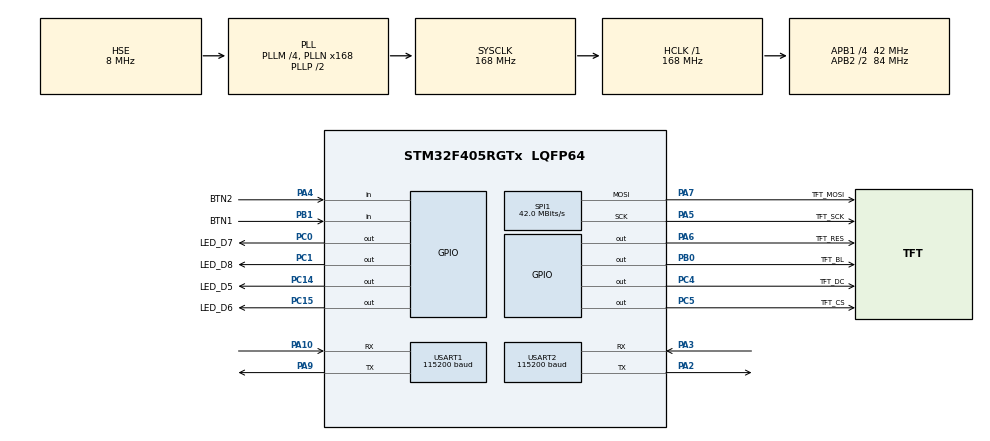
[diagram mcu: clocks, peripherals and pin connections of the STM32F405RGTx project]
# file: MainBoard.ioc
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Dma.Request0=SPI1_TX
Dma.SPI1_TX.0.Direction=DMA_MEMORY_TO_PERIPH
Dma.SPI1_TX.0.FIFOMode=DMA_FIFOMODE_ENABLE
Dma.SPI1_TX.0.FIFOThreshold=DMA_FIFO_THRESHOLD_FULL
Dma.SPI1_TX.0.Instance=DMA2_Stream3
Dma.SPI1_TX.0.MemBurst=DMA_MBURST_INC16
Dma.SPI1_TX.0.MemDataAlignment=DMA_MDATAALIGN_BYTE
Dma.SPI1_TX.0.MemInc=DMA_MINC_ENABLE
Dma.SPI1_TX.0.Mode=DMA_NORMAL
Dma.SPI1_TX.0.PeriphBurst=DMA_PBURST_SINGLE
Dma.SPI1_TX.0.PeriphDataAlignment=DMA_PDATAALIGN_BYTE
Dma.SPI1_TX.0.PeriphInc=DMA_PINC_DISABLE
Dma.SPI1_TX.0.Priority=DMA_PRIORITY_LOW
Mcu.Family=STM32F4
Mcu.Name=STM32F405RGTx
Mcu.Package=LQFP64
NVIC.DMA2_Stream3_IRQn=true\:0\:0\:false\:false\:true\:false\:true\:true
NVIC.PriorityGroup=NVIC_PRIORITYGROUP_4
NVIC.SPI1_IRQn=true\:0\:0\:false\:false\:true\:true\:true\:true
NVIC.USART1_IRQn=true\:0\:0\:false\:false\:true\:true\:true\:true
NVIC.USART2_IRQn=true\:0\:0\:false\:false\:true\:true\:true\:true
PA10.Mode=Asynchronous
PA10.Signal=USART1_RX
PA13.Mode=Serial_Wire
PA13.Signal=SYS_JTMS-SWDIO
PA14.Mode=Serial_Wire
PA14.Signal=SYS_JTCK-SWCLK
PA2.Mode=Asynchronous
PA2.Signal=USART2_TX
PA3.Mode=Asynchronous
PA3.Signal=USART2_RX
PA4.GPIO_Label=BTN2
PA4.GPIO_PuPd=GPIO_PULLUP
PA4.Signal=GPIO_Input
PA5.GPIO_Label=TFT_SCK
PA5.Mode=TX_Only_Simplex_Unidirect_Master
PA5.Signal=SPI1_SCK
PA6.GPIO_Label=TFT_RES
PA6.Signal=GPIO_Output
PA7.GPIO_Label=TFT_MOSI
PA7.Mode=TX_Only_Simplex_Unidirect_Master
PA7.Signal=SPI1_MOSI
PA9.Mode=Asynchronous
PA9.Signal=USART1_TX
PB0.GPIO_Label=TFT_BL
PB0.Signal=GPIO_Output
PB1.GPIO_Label=BTN1
PB1.GPIO_PuPd=GPIO_PULLUP
PB1.Signal=GPIO_Input
PC0.GPIO_Label=LED_D7
PC0.Signal=GPIO_Output
PC1.GPIO_Label=LED_D8
PC1.Signal=GPIO_Output
PC14-OSC32_IN.GPIO_Label=LED_D5
PC14-OSC32_IN.Signal=GPIO_Output
PC15-OSC32_OUT.GPIO_Label=LED_D6
PC15-OSC32_OUT.Signal=GPIO_Output
PC4.GPIO_Label=TFT_DC
PC4.Signal=GPIO_Output
PC5.GPIO_Label=TFT_CS
PC5.Signal=GPIO_Output
PH0-OSC_IN.Mode=HSE-External-Oscillator
PH0-OSC_IN.Signal=RCC_OSC_IN
PH1-OSC_OUT.Mode=HSE-External-Oscillator
PH1-OSC_OUT.Signal=RCC_OSC_OUT
ProjectManager.HeapSize=0x200
ProjectManager.StackSize=0x400
ProjectManager.TargetToolchain=CMake
RCC.48MHZClocksFreq_Value=84000000
RCC.AHBFreq_Value=168000000
RCC.APB1CLKDivider=RCC_HCLK_DIV4
RCC.APB1Freq_Value=42000000
RCC.APB1TimFreq_Value=84000000
RCC.APB2CLKDivider=RCC_HCLK_DIV2
RCC.APB2Freq_Value=84000000
RCC.APB2TimFreq_Value=168000000
RCC.CortexFreq_Value=168000000
RCC.HCLKFreq_Value=168000000
RCC.HSE_VALUE=8000000
RCC.HSI_VALUE=16000000
RCC.LSE_VALUE=32768
RCC.PLLM=4
RCC.PLLN=168
RCC.PLLSourceVirtual=RCC_PLLSOURCE_HSE
RCC.SYSCLKFreq_VALUE=168000000
RCC.SYSCLKSource=RCC_SYSCLKSOURCE_PLLCLK
RCC.VCOOutputFreq_Value=336000000
SPI1.BaudRatePrescaler=SPI_BAUDRATEPRESCALER_2
SPI1.CalculateBaudRate=42.0 MBits/s
SPI1.Direction=SPI_DIRECTION_2LINES
SPI1.Mode=SPI_MODE_MASTER
SPI1.VirtualType=VM_MASTER
USART1.BaudRate=115200
USART1.VirtualMode=VM_ASYNC
USART2.BaudRate=115200
USART2.VirtualMode=VM_ASYNC
board=custom

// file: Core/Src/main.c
/* USER CODE BEGIN Header */
/**
  ******************************************************************************
  * @file           : main.c
  * @brief          : MainBoard communication progress display.
  ******************************************************************************
  * Application code is kept inside CubeMX USER CODE sections.
  ******************************************************************************
  */
/* USER CODE END Header */
#include "main.h"
#include "dma.h"
#include "spi.h"
#include "usart.h"
#include "gpio.h"

/* USER CODE BEGIN Includes */
#include "lcd/lcd.h"
#include "lcd/lcd_graphics.h"
#include "rdc_protocol.h"
#include <stdio.h>
#include <string.h>
/* USER CODE END Includes */

/* USER CODE BEGIN PTD */
typedef enum {
  CMD_NONE = 0,
  CMD_MOVE,
  CMD_ROTATE,
  CMD_MECHANISM_OPEN,
  CMD_MECHANISM_CLOSE,
  CMD_MECHANISM_STOP
} cmd_t;
/* USER CODE END PTD */

/* USER CODE BEGIN PD */
#define RDC_LINK_TIMEOUT_MS 350U
#define RDC_DISPLAY_PERIOD_MS 100U
#define RDC_MOTION_AVG_SAMPLES 3U
#define BT_LINE_MAX 16U
#define BT_QUEUE_LEN 8U
/* USER CODE END PD */

/* USER CODE BEGIN PV */
/* Motion setpoints are moving-averaged over the latest received commands.
 * Trigger events remain discrete and are never averaged. */
static int16_t move_x_centi, move_y_centi, rotation_z_centi;
static RdcMessageType mechanism_command = RDC_MESSAGE_MECHANISM_STOP;
static int16_t move_history[RDC_MOTION_AVG_SAMPLES][2];
static int16_t rotation_history[RDC_MOTION_AVG_SAMPLES];
static uint8_t move_history_count, move_history_next;
static uint8_t rotation_history_count, rotation_history_next;
static uint8_t link_timed_out;
static uint8_t have_valid_command;
static uint16_t ack_sequence;
static uint32_t last_valid_command_tick, next_display_tick;
static uint32_t command_ok, command_bad, ack_errors;

/* USART1 byte-to-line receiver. RX is handled in the ISR; command parsing is foreground-only. */
static uint8_t bt_rx_byte, bt_rx_length, bt_rx_discard;
static char bt_rx_line[BT_LINE_MAX];
static char bt_line_queue[BT_QUEUE_LEN][BT_LINE_MAX];
static volatile uint8_t bt_queue_head, bt_queue_tail;
static volatile uint32_t bt_uart_errors, bt_overflows, bt_dropped;

static cmd_t last_command = CMD_NONE;
/* USER CODE END PV */

void SystemClock_Config(void);
/* USER CODE BEGIN PFP */
static void mainboard_app_init(void);
static void mainboard_app_step(void);
static void bt_rx_start(void);
static bool bt_rx_get_line(char *out);
static cmd_t bt_parse(const char *line, RdcMessage *message);
static const char *cmd_name(cmd_t command);
static void send_ack(void);
static void draw_progress_screen(uint32_t now);
static void ratio_text(char *out, size_t capacity, int16_t ratio);
/* USER CODE END PFP */

/* USER CODE BEGIN 0 */
static void bt_rx_start(void)
{
  (void)HAL_UART_Receive_IT(&huart1, &bt_rx_byte, 1U);
}

static bool bt_rx_get_line(char *out)
{
  if (bt_queue_head == bt_queue_tail) return false;
  memcpy(out, bt_line_queue[bt_queue_tail], BT_LINE_MAX);
  bt_queue_tail = (uint8_t)((bt_queue_tail + 1U) % BT_QUEUE_LEN);
  return true;
}

void HAL_UART_RxCpltCallback(UART_HandleTypeDef *huart)
{
  if (huart != &huart1) return;

  const char byte = (char)bt_rx_byte;
  if (byte == '\n') {
    if (!bt_rx_discard && bt_rx_length > 0U) {
      const uint8_t next = (uint8_t)((bt_queue_head + 1U) % BT_QUEUE_LEN);
      bt_rx_line[bt_rx_length] = '\0';
      if (next != bt_queue_tail) {
        memcpy(bt_line_queue[bt_queue_head], bt_rx_line, BT_LINE_MAX);
        bt_queue_head = next;
      } else {
        ++bt_dropped;
      }
    }
    bt_rx_length = 0U;
    bt_rx_discard = 0U;
  } else if (byte == '\r') {
    /* The wire protocol is LF-only; discard CRLF lines through their LF. */
    bt_rx_length = 0U;
    bt_rx_discard = 1U;
  } else if (!bt_rx_discard) {
    if (bt_rx_length < BT_LINE_MAX - 1U) {
      bt_rx_line[bt_rx_length++] = byte;
    } else {
      bt_rx_length = 0U;
      bt_rx_discard = 1U;
      ++bt_overflows;
    }
  }
  bt_rx_start();
}

void HAL_UART_ErrorCallback(UART_HandleTypeDef *huart)
{
  if (huart != &huart1) return;
  ++bt_uart_errors;
  bt_rx_length = 0U;
  bt_rx_discard = 1U;
  bt_rx_start();
}

static cmd_t bt_parse(const char *line, RdcMessage *message)
{
  char frame[BT_LINE_MAX + 1U];
  const size_t length = strlen(line);
  memset(message, 0, sizeof(*message));
  if ((length + 1U) > sizeof(frame)) return CMD_NONE;
  memcpy(frame, line, length);
  frame[length] = '\n';
  if (!rdc_parse_line(frame, length + 1U, message)) return CMD_NONE;

  switch (message->type) {
    case RDC_MESSAGE_MOVE: return CMD_MOVE;
    case RDC_MESSAGE_ROTATE: return CMD_ROTATE;
    case RDC_MESSAGE_MECHANISM_OPEN: return CMD_MECHANISM_OPEN;
    case RDC_MESSAGE_MECHANISM_CLOSE: return CMD_MECHANISM_CLOSE;
    case RDC_MESSAGE_MECHANISM_STOP: return CMD_MECHANISM_STOP;
    default: return CMD_NONE;
  }
}

static const char *cmd_name(cmd_t command)
{
  switch (command) {
    case CMD_MOVE: return "M";
    case CMD_ROTATE: return "R";
    case CMD_MECHANISM_OPEN: return "GO";
    case CMD_MECHANISM_CLOSE: return "GC";
    case CMD_MECHANISM_STOP: return "GS";
    default: return "WAIT";
  }
}

static void send_ack(void)
{
  char frame[RDC_PROTOCOL_MAX_FRAME];
  const size_t length = rdc_encode_ack(frame, sizeof(frame), ack_sequence++, 0U);
  if ((length == 0U) || (HAL_UART_Transmit(&huart1, (uint8_t *)frame,
      (uint16_t)length, 20U) != HAL_OK)) {
    ++ack_errors;
  }
}

static void ratio_text(char *out, size_t capacity, int16_t ratio)
{
  const unsigned magnitude = (unsigned)((ratio < 0) ? -ratio : ratio);
  (void)snprintf(out, capacity, "%c%u.%02u", (ratio < 0) ? '-' : '+',
                 magnitude / 100U, magnitude % 100U);
}

static void reset_motion_average(void)
{
  memset(move_history, 0, sizeof(move_history));
  memset(rotation_history, 0, sizeof(rotation_history));
  move_history_count = 0U;
  move_history_next = 0U;
  rotation_history_count = 0U;
  rotation_history_next = 0U;
  move_x_centi = 0;
  move_y_centi = 0;
  rotation_z_centi = 0;
}

static void add_move_sample(int16_t x, int16_t y)
{
  move_history[move_history_next][0] = x;
  move_history[move_history_next][1] = y;
  move_history_next = (uint8_t)((move_history_next + 1U) % RDC_MOTION_AVG_SAMPLES);
  if (move_history_count < RDC_MOTION_AVG_SAMPLES) ++move_history_count;

  int32_t sum_x = 0, sum_y = 0;
  for (uint8_t i = 0U; i < move_history_count; ++i) {
    sum_x += move_history[i][0];
    sum_y += move_history[i][1];
  }
  move_x_centi = (int16_t)(sum_x / (int32_t)move_history_count);
  move_y_centi = (int16_t)(sum_y / (int32_t)move_history_count);
}

static void add_rotation_sample(int16_t z)
{
  rotation_history[rotation_history_next] = z;
  rotation_history_next = (uint8_t)((rotation_history_next + 1U) % RDC_MOTION_AVG_SAMPLES);
  if (rotation_history_count < RDC_MOTION_AVG_SAMPLES) ++rotation_history_count;

  int32_t sum = 0;
  for (uint8_t i = 0U; i < rotation_history_count; ++i) sum += rotation_history[i];
  rotation_z_centi = (int16_t)(sum / (int32_t)rotation_history_count);
}

static void draw_progress_screen(uint32_t now)
{
  const uint32_t age = have_valid_command ? now - last_valid_command_tick : 0U;
  const char *link_state = !have_valid_command ? "WAIT" :
                           (age <= RDC_LINK_TIMEOUT_MS ? "UP" : "STALE");
  char x_text[8], y_text[8], z_text[8];
  ratio_text(x_text, sizeof(x_text), move_x_centi);
  ratio_text(y_text, sizeof(y_text), move_y_centi);
  ratio_text(z_text, sizeof(z_text), rotation_z_centi);

  tft_prints(1, 0, "RDC MAINBOARD");
  tft_prints(1, 1, "LINK:%s", link_state);
  if (have_valid_command) tft_prints(1, 2, "AGE:%4ums", (unsigned)age);
  else                    tft_prints(1, 2, "AGE:----");
  tft_prints(1, 3, "MOVE X:%s", x_text);
  tft_prints(1, 4, "MOVE Y:%s", y_text);
  tft_prints(1, 5, "ROT Z:%s", z_text);
  tft_prints(1, 6, "MECH:%s", mechanism_command == RDC_MESSAGE_MECHANISM_OPEN ? "OPEN" :
             mechanism_command == RDC_MESSAGE_MECHANISM_CLOSE ? "CLOSE" : "STOP");
  if (have_valid_command) {
    tft_prints(1, 7, "CMD:%s A:%u", cmd_name(last_command),
               (unsigned)(uint16_t)(ack_sequence - 1U));
  } else {
    tft_prints(1, 7, "CMD:WAIT ACK:--");
  }
  tft_prints(1, 8, "OK:%u BAD:%u", (unsigned)command_ok, (unsigned)command_bad);
  tft_prints(1, 9, "U:%u O:%u D:%u A:%u", (unsigned)bt_uart_errors,
             (unsigned)bt_overflows, (unsigned)bt_dropped, (unsigned)ack_errors);
  tft_prints(1, 10, "MOTION AVG:%u", (unsigned)RDC_MOTION_AVG_SAMPLES);
  tft_update(0U);
}

static void mainboard_app_init(void)
{
  tft_init(PIN_ON_TOP, BLACK, WHITE, CYAN, DARK_GREY);
  tft_force_clear();
  tft_set_text_color(WHITE);
  tft_set_bg_color(BLACK);
  bt_rx_start();
  next_display_tick = HAL_GetTick();
}

static void mainboard_app_step(void)
{
  const uint32_t now = HAL_GetTick();
  char line[BT_LINE_MAX];
  while (bt_rx_get_line(line)) {
    RdcMessage message;
    const cmd_t command = bt_parse(line, &message);
    last_command = command;
    if (command == CMD_NONE) {
      ++command_bad;
      continue;
    }

    ++command_ok;
    have_valid_command = 1U;
    link_timed_out = 0U;
    last_valid_command_tick = now;
    switch (command) {
      case CMD_MOVE:
        add_move_sample(message.ratio_x_centi, message.ratio_y_centi);
        break;
      case CMD_ROTATE:
        add_rotation_sample(message.ratio_z_centi);
        break;
      case CMD_MECHANISM_OPEN:
        mechanism_command = RDC_MESSAGE_MECHANISM_OPEN;
        break;
      case CMD_MECHANISM_CLOSE:
        mechanism_command = RDC_MESSAGE_MECHANISM_CLOSE;
        break;
      case CMD_MECHANISM_STOP:
        mechanism_command = RDC_MESSAGE_MECHANISM_STOP;
        break;
      default:
        break;
    }
    send_ack();
  }

  if (have_valid_command && ((now - last_valid_command_tick) > RDC_LINK_TIMEOUT_MS)) {
    mechanism_command = RDC_MESSAGE_MECHANISM_STOP;
    if (!link_timed_out) {
      reset_motion_average();
      link_timed_out = 1U;
    }
  }
  if ((int32_t)(now - next_display_tick) >= 0) {
    draw_progress_screen(now);
    next_display_tick = now + RDC_DISPLAY_PERIOD_MS;
  }
}
/* USER CODE END 0 */

int main(void)
{

  /* MCU Configuration--------------------------------------------------------*/

  /* Reset of all peripherals, Initializes the Flash interface and the Systick. */
  HAL_Init();

  /* Configure the system clock */
  SystemClock_Config();

  /* Initialize all configured peripherals */
  MX_GPIO_Init();
  MX_DMA_Init();
  MX_USART1_UART_Init();
  MX_USART2_UART_Init();
  MX_SPI1_Init();
  /* USER CODE BEGIN 2 */
  mainboard_app_init();
  /* USER CODE END 2 */

  /* Infinite loop */
  while (1)
  {

    /* USER CODE BEGIN 3 */
    mainboard_app_step();
    HAL_Delay(1U);
  /* USER CODE END 3 */
}
}

void SystemClock_Config(void)
{
  RCC_OscInitTypeDef RCC_OscInitStruct = {0};
  RCC_ClkInitTypeDef RCC_ClkInitStruct = {0};

  /** Configure the main internal regulator output voltage
  */
  __HAL_RCC_PWR_CLK_ENABLE();
  __HAL_PWR_VOLTAGESCALING_CONFIG(PWR_REGULATOR_VOLTAGE_SCALE1);

  /** Initializes the RCC Oscillators according to the specified parameters
  * in the RCC_OscInitTypeDef structure.
  */
  RCC_OscInitStruct.OscillatorType = RCC_OSCILLATORTYPE_HSE;
  RCC_OscInitStruct.HSEState = RCC_HSE_ON;
  RCC_OscInitStruct.PLL.PLLState = RCC_PLL_ON;
  RCC_OscInitStruct.PLL.PLLSource = RCC_PLLSOURCE_HSE;
  RCC_OscInitStruct.PLL.PLLM = 4;
  RCC_OscInitStruct.PLL.PLLN = 168;
  RCC_OscInitStruct.PLL.PLLP = RCC_PLLP_DIV2;
  RCC_OscInitStruct.PLL.PLLQ = 4;
  if (HAL_RCC_OscConfig(&RCC_OscInitStruct) != HAL_OK)
  {
    Error_Handler();
  }

  /** Initializes the CPU, AHB and APB buses clocks
  */
  RCC_ClkInitStruct.ClockType = RCC_CLOCKTYPE_HCLK|RCC_CLOCKTYPE_SYSCLK
                              |RCC_CLOCKTYPE_PCLK1|RCC_CLOCKTYPE_PCLK2;
  RCC_ClkInitStruct.SYSCLKSource = RCC_SYSCLKSOURCE_PLLCLK;
  RCC_ClkInitStruct.AHBCLKDivider = RCC_SYSCLK_DIV1;
  RCC_ClkInitStruct.APB1CLKDivider = RCC_HCLK_DIV4;
  RCC_ClkInitStruct.APB2CLKDivider = RCC_HCLK_DIV2;

  if (HAL_RCC_ClockConfig(&RCC_ClkInitStruct, FLASH_LATENCY_5) != HAL_OK)
  {
    Error_Handler();
  }
}

void Error_Handler(void)
{
  __disable_irq();
  while (1) {
  }
}
